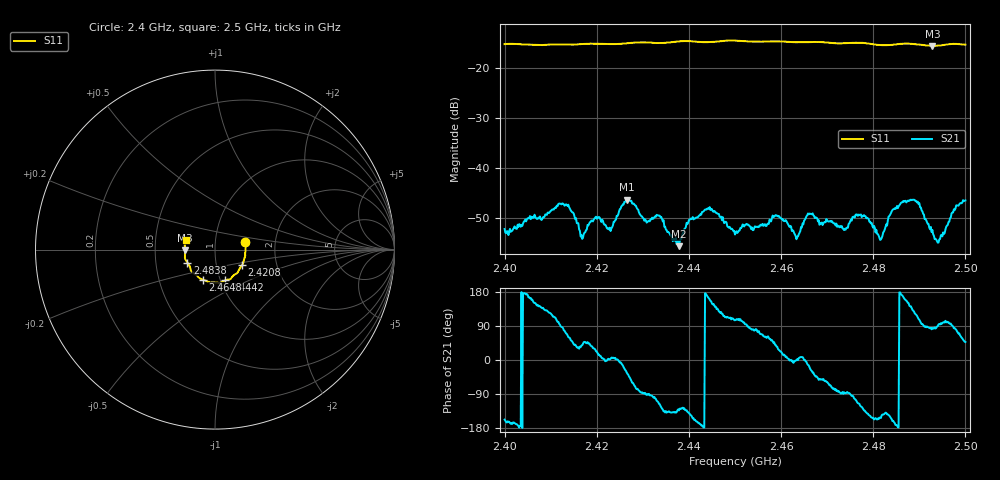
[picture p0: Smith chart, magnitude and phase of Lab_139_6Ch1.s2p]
# Hz S RI R 50
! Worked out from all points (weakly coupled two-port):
!   601 points, 2.4 GHz to 2.5 GHz, reference 50 ohm
!   highest |S21| = -46.34 dB at 2.4265 GHz (marker M1); lowest = -55.7 dB at 2.4378 GHz (marker M2)
!   lowest |S11| = -15.6 dB at 2.4928 GHz (marker M3), VSWR 1.40, Z = 35.8 - j0.357 ohm
!   |S11| at or under -10 dB: start of sweep to end of sweep
!   S12 and S22 are empty: the file has one direction only
!   S11 on the Smith chart (normalised r, x): 2.4 GHz: 1.40, +0.12; 2.4208 GHz: 1.33, -0.24; 2.4442 GHz: 1.05, -0.37; 2.4648 GHz: 0.83, -0.29; 2.4838 GHz: 0.73, -0.11; 2.5 GHz: 0.72, +0.08
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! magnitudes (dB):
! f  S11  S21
! 2.4 GHz  -15.3  -52.2
! 2.4123 GHz  -15.3  -47.3
! 2.4167 GHz  -15.2  -53.5
! 2.4208 GHz  -15.2  -50.4
! 2.423 GHz  -15.2  -52.6
! 2.4265 GHz  -15.1  -46.3
! 2.4333 GHz  -15.0  -49.5
! 2.4378 GHz  -14.7  -55.7
! 2.4442 GHz  -14.9  -48.1
! 2.45 GHz  -14.5  -53.3
! 2.4635 GHz  -14.9  -53.8
! 2.4648 GHz  -14.9  -51.3
! 2.4667 GHz  -14.8  -49.3
! 2.4738 GHz  -15.1  -52.2
! 2.4778 GHz  -15.0  -49.6
! 2.4815 GHz  -15.4  -54.4
! 2.4833 GHz  -15.5  -49.7
! 2.4838 GHz  -15.4  -49.1
! 2.4892 GHz  -15.3  -46.6
! 2.4928 GHz  -15.6  -52.4
! 2.4945 GHz  -15.5  -54.2
! 2.5 GHz  -15.4  -46.5
